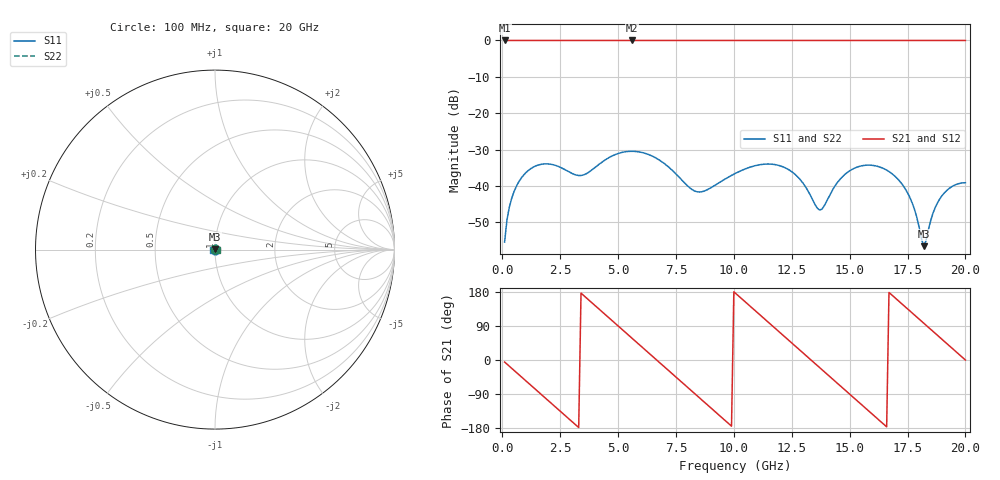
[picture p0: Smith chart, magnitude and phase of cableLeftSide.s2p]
# MHz MA S R 50.0
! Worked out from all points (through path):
!   200 points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, 100 MHz to 20 GHz, reference 50 ohm
!   highest |S21| = 0.00 dB at 100 MHz (marker M1); lowest = 0.0 dB at 5.6 GHz (marker M2)
!   group delay of S21, straight-line fit = 150 ps
!   lowest |S11| = -56.5 dB at 18.2 GHz (marker M3), VSWR 1.00, Z = 50.1 + j0.0735 ohm
!   |S11| at or under -10 dB: start of sweep to end of sweep
!   |S22| runs from -56.5 to -30.5 dB; largest |S21 - S12| = 0
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100  0.001701 85.1  1 -5.4  1 -5.4  0.001701 84.1
600  0.009775 60.4  1 -32.4  1 -32.4  0.009775 54.8
1700  0.01991 9.3  0.9998 -91.8  0.9998 -91.8  0.01991 -12.9
2700  0.01683 -22.9  0.9999 -145.8  0.9999 -145.8  0.01683 -88.7
3500  0.01416 -17.7  0.9999 171.0  0.9999 171.0  0.01416 179.6
4600  0.02449 -29.3  0.9997 111.6  0.9997 111.6  0.02449 72.5
5600  0.02997 -72.2  0.9996 57.6  0.9996 57.6  0.02997 7.4
6800  0.02255 -131.1  0.9997 -7.2  0.9997 -7.2  0.02255 -63.3
8400  0.00834 -175.3  1 -93.6  1 -93.6  0.00834 168.1
9300  0.01079 161.2  0.9999 -142.2  0.9999 -142.2  0.01079 94.4
10100  0.01508 110.4  0.9999 174.6  0.9999 174.6  0.01508 58.8
11700  0.01983 3.2  0.9998 88.2  0.9998 88.2  0.01983 -6.8
12600  0.01486 -48.4  0.9999 39.6  0.9999 39.6  0.01486 -52.4
13400  0.006489 -70.0  1 -3.6  1 -3.6  0.006489 -117.2
13800  0.004799 -36.7  1 -25.2  1 -25.2  0.004799 166.3
15000  0.01615 -50.2  0.9999 -90.0  0.9999 -90.0  0.01615 50.2
16000  0.01919 -108.1  0.9998 -144.0  0.9998 -144.0  0.01919 0.1
16700  0.01578 -152.5  0.9999 178.2  0.9999 178.2  0.01578 -31.1
17600  0.006979 143.0  1 129.6  1 129.6  0.006979 -63.8
18200  0.001489 29.5  1 97.2  1 97.2  0.001489 -15.1
18900  0.006693 -98.4  1 59.4  1 59.4  0.006693 37.2
20000  0.01109 -180.0  0.9999 0.0  0.9999 0.0  0.01109 0.0
